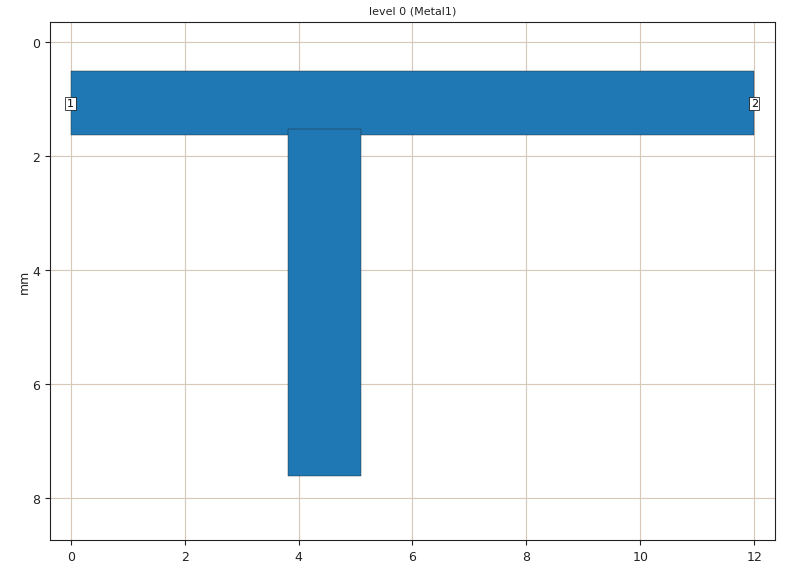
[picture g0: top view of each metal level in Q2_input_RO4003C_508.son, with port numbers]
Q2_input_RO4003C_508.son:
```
FTYP SONPROJ 19 ! Sonnet Project File
VER 18.53
HEADER
LIC SL64e88c52
DAT 08/29/2023 17:04:14
BUILT_BY_CREATED xgeom 18.53-Lite 08/28/2023 13:16:12
BUILT_BY_SAVED sonnet 18.53-Lite
MDATE 08/29/2023 13:21:07
HDATE 08/29/2023 13:21:07
END HEADER
DIM
ANG DEG
CAP PF
CON /OH
FREQ GHZ
IND NH
LNG MM
RES OH
END DIM
CONTROL
VARSWP
OPTIONS  -d
SPEED 0
CACHE_ABS 2
Q_ACC N
END CONTROL
GEO
TMET "Lossless" 0 SUP 0 0 0 0
BMET "Lossless" 0 SUP 0 0 0 0
BOX 1 12 8.382 94 66 20 0
      10 1 1 0.0035 0 0 0 "Air"
      0.508 3.55 1 0.0029 0 0 0 "Rogers RO4003C"
TECHLAY METAL Metal1 <UNSPECIFIED> -2 -65534 
0 0 -1 N 68 1 1 100 100 0 0 0 Y
END
END
VALVAR W LNG 1.13 "Dim. Param."
VALVAR L1 LNG 6.096 "Dim. Param."
DIM STD XDIR -1
POS -3.697739198 1.941131232
NOM 6.906808511
REF1 POLY 15 1
2
REF2 POLY 59 1
1
END
DIM STD XDIR 1
POS 0.6432540391 1.504264128
NOM 1.27
REF1 POLY 59 1
3
REF2 POLY 59 1
2
END
LORGN 0 8.382 U 
POR1 BOX
POLY 15 1
3
1 50 0 0 0 0 1.073 
POR1 BOX
POLY 15 1
1
2 50 0 0 0 12 1.073 
NUM 2
0 5 -1 N 15 1 1 100 100 0 0 0 Y
TLAYNAM Metal1 INH
0 0.508
12 0.508
12 1.638
0 1.638
0 0.508
END
0 5 -1 N 59 1 1 100 100 0 0 0 Y
TLAYNAM Metal1 INH
3.823191489 1.524
5.093191489 1.524
5.093191489 7.62
3.823191489 7.62
3.823191489 1.524
END
END GEO
OPT
MAX 100
END OPT
VARSWP
ENABLED Y
FREQ N AY ABS_ENTRY 0.0 
FREQ Y AN STEP 5.32
VAR W N 0.508 0.508 UNDEF
VAR L1 N 4.318 4.318 UNDEF
END
END VARSWP
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```
